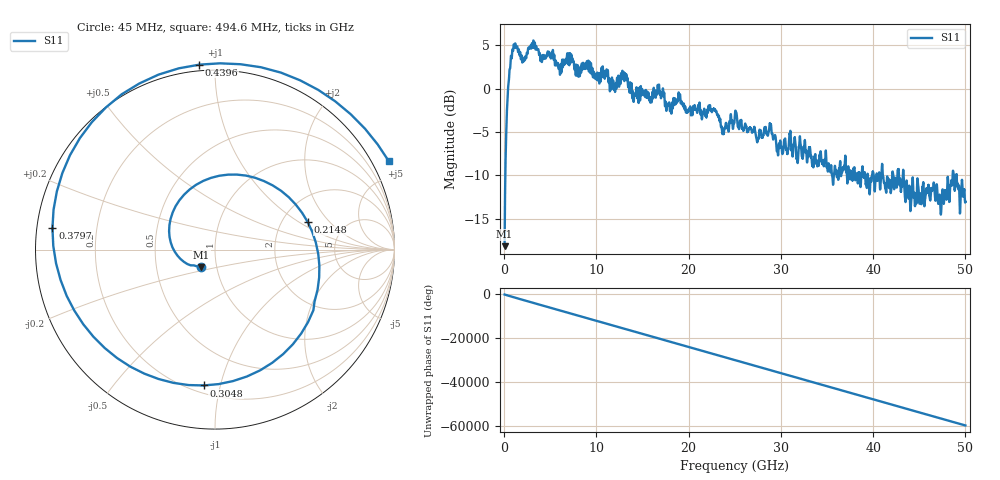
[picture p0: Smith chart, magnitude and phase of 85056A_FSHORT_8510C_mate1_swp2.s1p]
!Created with skrf (http://scikit-rf.org).
# Hz S RI R 50.0
!freq ReS11 ImS11
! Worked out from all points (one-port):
!   10001 points, 45 MHz to 50 GHz, reference 50 ohm
!   lowest |S11| = -18.2 dB at 45 MHz (marker M1), VSWR 1.28, Z = 42.1 - j8.29 ohm
!   |S11| at or under -10 dB: 41.05 GHz to 42.06 GHz (1.009 GHz wide, 2.43 % of centre); 43.3 GHz to 48.62 GHz (5.313 GHz wide, 11.6 % of centre); 49.05 GHz to end of sweep (the widest 3 of 26)
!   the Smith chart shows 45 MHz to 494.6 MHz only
!   S11 on the Smith chart (normalised r, x): 45 MHz: 0.84, -0.17; 214.8 MHz: 2.76, +1.19; 304.8 MHz: 0.25, -0.89; 379.7 MHz: 0.05, +0.07; 439.6 MHz: -0.03, +0.92; 494.6 MHz: -0.74, +4.05
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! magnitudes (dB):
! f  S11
! 45 MHz  -18.2
! 214.8 MHz  -5.4
! 304.8 MHz  -2.4
! 379.7 MHz  -0.8
! 439.6 MHz  0.3
! 494.6 MHz  0.7
! 814.3 MHz  3.5
! 1.209 GHz  5.2
! 2.028 GHz  3.3
! 3.107 GHz  4.9
! 6.289 GHz  3.3
! 7.199 GHz  3.1
! 7.973 GHz  2.7
! 12.53 GHz  1.4
! 14.08 GHz  -1.0
! 18.78 GHz  -1.2
! 22.81 GHz  -2.5
! 23.73 GHz  -5.0
! 25.02 GHz  -2.8
! 31.27 GHz  -7.8
! 37.51 GHz  -10.5
! 39.42 GHz  -10.1
! 42.72 GHz  -9.3
! 43.76 GHz  -11.5
! 46.7 GHz  -12.5
! 47.23 GHz  -12.4
! 48.84 GHz  -11.7
! 50 GHz  -13.0
